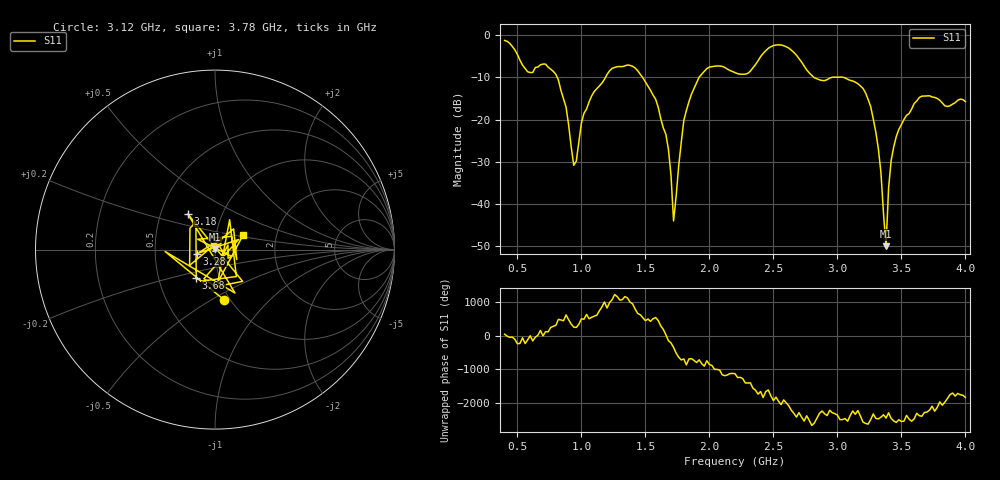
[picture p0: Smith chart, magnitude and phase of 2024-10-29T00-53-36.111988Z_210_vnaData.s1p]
!Created with skrf (http://scikit-rf.org).
# Hz S RI R 50.0
!freq ReS11 ImS11
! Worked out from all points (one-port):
!   181 points, 400 MHz to 4 GHz, reference 50 ohm
!   lowest |S11| = -50.0 dB at 3.38 GHz (marker M1), VSWR 1.01, Z = 50.1 + j0.299 ohm
!   |S11| at or under -10 dB: 811.3 MHz to 1.188 GHz (376.5 MHz wide, 37.7 % of centre); 1.478 GHz to 1.919 GHz (440.6 MHz wide, 25.9 % of centre); 3.048 GHz to end of sweep (the widest 3 of 4)
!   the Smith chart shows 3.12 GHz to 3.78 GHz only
!   S11 on the Smith chart (normalised r, x): 3.12 GHz: 0.94, -0.58; 3.18 GHz: 0.69, +0.29; 3.28 GHz: 0.82, -0.04; 3.68 GHz: 0.77, -0.25; 3.78 GHz: 1.35, +0.23
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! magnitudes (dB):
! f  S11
! 400 MHz  -1.2
! 580 MHz  -8.7
! 780 MHz  -8.5
! 860 MHz  -15.1
! 940 MHz  -30.8
! 1.08 GHz  -14.4
! 1.3 GHz  -7.4
! 1.58 GHz  -15.2
! 1.68 GHz  -27.1
! 1.72 GHz  -44.0
! 1.76 GHz  -31.0
! 1.8 GHz  -20.2
! 1.92 GHz  -9.9
! 2.2 GHz  -8.9
! 2.66 GHz  -4.1
! 2.82 GHz  -10.1
! 3.1 GHz  -10.7
! 3.12 GHz  -10.9
! 3.18 GHz  -12.0
! 3.28 GHz  -19.8
! 3.34 GHz  -32.5
! 3.38 GHz  -50.0
! 3.4 GHz  -36.2
! 3.42 GHz  -29.7
! 3.56 GHz  -18.6
! 3.68 GHz  -14.4
! 3.78 GHz  -15.0
! 4 GHz  -15.7
